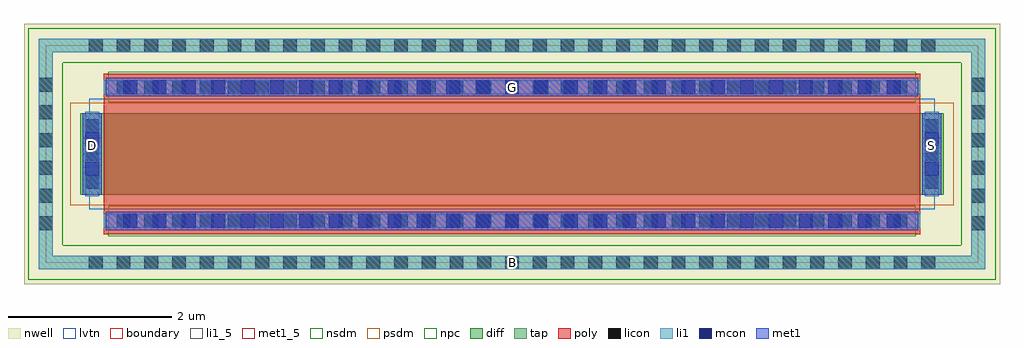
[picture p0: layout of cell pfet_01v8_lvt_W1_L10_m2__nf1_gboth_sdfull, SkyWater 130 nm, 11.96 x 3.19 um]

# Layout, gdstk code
import gdstk
lib = gdstk.Library(unit=1e-6, precision=1e-09)
def R(c, l, rs):  # rectangles x0, y0, x1, y1
    for r in rs: c.add(gdstk.rectangle(r[:2], r[2:], *l))
def A(c, l, x, y, w, h, nx, ny, dx, dy):  # array of equal rectangles
    R(c, l, [(x+i*dx, y+j*dy, x+i*dx+w, y+j*dy+h) for i in range(nx) for j in range(ny)])
nwell = (64, 20)
diff = (65, 20)
tap = (65, 44)
poly = (66, 20)
licon = (66, 44)
li1_5 = (67, 5)
li1 = (67, 20)
mcon = (67, 44)
met1_5 = (68, 5)
met1 = (68, 20)
nsdm = (93, 44)
psdm = (94, 20)
npc = (95, 20)
lvtn = (125, 44)
boundary = (235, 4)

sky130_fd_pr__pfet_01v8_ = lib.new_cell('sky130_fd_pr__pfet_01v8_lvt_N6A984')
R(sky130_fd_pr__pfet_01v8_, nwell, [(-5.98,-1.595,5.98,1.595)])
R(sky130_fd_pr__pfet_01v8_, diff, [(-5.29,-0.5,5.29,0.5)])
R(sky130_fd_pr__pfet_01v8_, tap, [(-5.8,-1.415,5.8,-1.245), (-5.8,-1.245,-5.63,1.245), (5.63,-1.245,5.8,1.245), (-5.8,1.245,5.8,1.415)])
R(sky130_fd_pr__pfet_01v8_, poly, [(-5,-0.985,5,0.985)])
A(sky130_fd_pr__pfet_01v8_, licon, -5.185, -1.415, 0.17, 0.17, 31, 2, 0.34, 2.66)
A(sky130_fd_pr__pfet_01v8_, licon, -5.8, -0.935, 0.17, 0.17, 1, 6, 0, 0.34)
A(sky130_fd_pr__pfet_01v8_, licon, 5.63, -0.935, 0.17, 0.17, 1, 6, 0, 0.34)
A(sky130_fd_pr__pfet_01v8_, licon, -4.845, -0.905, 0.17, 0.17, 29, 2, 0.34, 1.64)
A(sky130_fd_pr__pfet_01v8_, licon, -5.23, -0.425, 0.17, 0.17, 1, 3, 0, 0.34)
A(sky130_fd_pr__pfet_01v8_, licon, 5.06, -0.425, 0.17, 0.17, 1, 3, 0, 0.34)
R(sky130_fd_pr__pfet_01v8_, li1, [(-5.8,-1.415,5.8,-1.245), (-5.8,-1.245,-5.63,1.245), (5.63,-1.245,5.8,1.245), (-5,-0.905,5,-0.735), (-5.23,-0.52,-5.06,0.52), (5.06,-0.52,5.23,0.52), (-5,0.735,5,0.905), (-5.8,1.245,5.8,1.415)])
A(sky130_fd_pr__pfet_01v8_, mcon, -4.765, -0.905, 0.17, 0.17, 27, 2, 0.36, 1.64)
R(sky130_fd_pr__pfet_01v8_, mcon, [(-5.23,-0.265,-5.06,-0.095), (5.06,-0.265,5.23,-0.095), (-5.23,0.095,-5.06,0.265), (5.06,0.095,5.23,0.265)])
R(sky130_fd_pr__pfet_01v8_, met1, [(-4.98,-0.935,4.98,-0.705), (-5.26,-0.5,-5.03,0.5), (5.03,-0.5,5.26,0.5), (-4.98,0.705,4.98,0.935)])
R(sky130_fd_pr__pfet_01v8_, nsdm, [(-5.925,-1.54,5.925,-1.12), (-5.925,-1.12,-5.505,1.12), (5.505,-1.12,5.925,1.12), (-5.925,1.12,5.925,1.54)])
R(sky130_fd_pr__pfet_01v8_, psdm, [(-5.415,-0.625,5.415,0.625)])
R(sky130_fd_pr__pfet_01v8_, npc, [(-4.945,-1.005,4.945,-0.635), (-4.945,0.635,4.945,1.005)])
R(sky130_fd_pr__pfet_01v8_, lvtn, [(-5.18,-0.68,5.18,0.68)])
R(sky130_fd_pr__pfet_01v8_, boundary, [(-5.715,-1.33,5.715,1.33)])
sky130_fd_pr__pfet_01v8_.add(gdstk.Label('B', (0,-1.33), layer=67, texttype=5))
sky130_fd_pr__pfet_01v8_.add(gdstk.Label('D', (-5.145,0), layer=67, texttype=5))
sky130_fd_pr__pfet_01v8_.add(gdstk.Label('S', (5.145,0), layer=67, texttype=5))
sky130_fd_pr__pfet_01v8_.add(gdstk.Label('G', (0,0.82), layer=67, texttype=5))

pfet_01v8_lvt_w1_l10_m2_ = lib.new_cell('pfet_01v8_lvt_W1_L10_m2__nf1_gboth_sdfull')
R(pfet_01v8_lvt_w1_l10_m2_, li1_5, [(5.63,-0.085,5.8,0.085)])
R(pfet_01v8_lvt_w1_l10_m2_, li1, [(5.63,-0.085,5.8,0.085)])
R(pfet_01v8_lvt_w1_l10_m2_, met1_5, [(0.455,1.33,0.685,1.53), (10.745,1.33,10.975,1.53), (0.735,2.035,10.695,2.265)])
R(pfet_01v8_lvt_w1_l10_m2_, met1, [(0.455,1.33,0.685,1.53), (10.745,1.33,10.975,1.53), (0.735,2.035,10.695,2.265)])
pfet_01v8_lvt_w1_l10_m2_.add(gdstk.Reference(sky130_fd_pr__pfet_01v8_, (5.715,1.33)))
pfet_01v8_lvt_w1_l10_m2_.add(gdstk.Label('D', (0.57,1.43), layer=68, texttype=5))
pfet_01v8_lvt_w1_l10_m2_.add(gdstk.Label('S', (10.86,1.43), layer=68, texttype=5))
pfet_01v8_lvt_w1_l10_m2_.add(gdstk.Label('G', (5.715,2.15), layer=68, texttype=5))
pfet_01v8_lvt_w1_l10_m2_.add(gdstk.Label('B', (5.715,0), layer=67, texttype=5))

lib.write_gds('pfet_01v8_lvt_W1_L10_m2__nf1_gboth_sdfull.gds')
